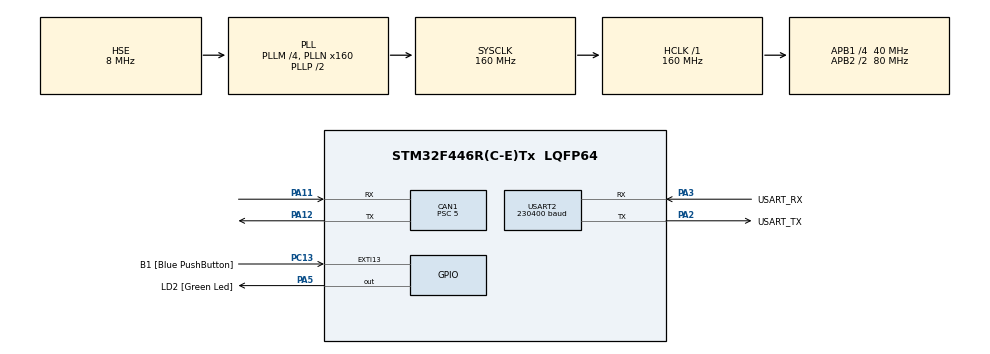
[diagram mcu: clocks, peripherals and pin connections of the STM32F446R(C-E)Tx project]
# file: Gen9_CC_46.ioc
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CAN1.BS1=CAN_BS1_13TQ
CAN1.BS2=CAN_BS2_2TQ
CAN1.CalculateTimeBit=2000
CAN1.CalculateTimeQuantum=125.0
CAN1.Prescaler=5
Dma.Request0=USART2_RX
Dma.Request1=USART2_TX
Dma.USART2_RX.0.Direction=DMA_PERIPH_TO_MEMORY
Dma.USART2_RX.0.FIFOMode=DMA_FIFOMODE_DISABLE
Dma.USART2_RX.0.Instance=DMA1_Stream5
Dma.USART2_RX.0.MemDataAlignment=DMA_MDATAALIGN_BYTE
Dma.USART2_RX.0.MemInc=DMA_MINC_ENABLE
Dma.USART2_RX.0.Mode=DMA_CIRCULAR
Dma.USART2_RX.0.PeriphDataAlignment=DMA_PDATAALIGN_BYTE
Dma.USART2_RX.0.PeriphInc=DMA_PINC_DISABLE
Dma.USART2_RX.0.Priority=DMA_PRIORITY_MEDIUM
Dma.USART2_TX.1.Direction=DMA_MEMORY_TO_PERIPH
Dma.USART2_TX.1.FIFOMode=DMA_FIFOMODE_DISABLE
Dma.USART2_TX.1.Instance=DMA1_Stream6
Dma.USART2_TX.1.MemDataAlignment=DMA_MDATAALIGN_BYTE
Dma.USART2_TX.1.MemInc=DMA_MINC_ENABLE
Dma.USART2_TX.1.Mode=DMA_NORMAL
Dma.USART2_TX.1.PeriphDataAlignment=DMA_PDATAALIGN_BYTE
Dma.USART2_TX.1.PeriphInc=DMA_PINC_DISABLE
Dma.USART2_TX.1.Priority=DMA_PRIORITY_LOW
FREERTOS.INCLUDE_eTaskGetState=1
FREERTOS.INCLUDE_vTaskDelayUntil=1
FREERTOS.INCLUDE_xQueueGetMutexHolder=1
FREERTOS.INCLUDE_xSemaphoreGetMutexHolder=1
FREERTOS.INCLUDE_xTaskGetCurrentTaskHandle=1
FREERTOS.Mutexes01=controlVarsMtx,Dynamic,NULL
FREERTOS.Queues01=mainCanTxQ,32,Can_frame_t,NULL,Dynamic,NULL,NULL;mainCanRxQ,32,Can_frame_t,NULL,Dynamic,NULL,NULL;BadNodesQ,32,uint8_t,NULL,Dynamic,NULL,NULL;motCanTxQ,16,Can_frame_t,NULL,Dynamic,NULL,NULL;motCanRxQ,16,Can_frame_t,NULL,Dynamic,NULL,NULL
FREERTOS.Tasks01=Kick_Dog,3,256,doKickDog,Default,NULL,Dynamic,NULL,NULL;Can_Processor,0,512,doProcessCan,Default,NULL,Dynamic,NULL,NULL;RT_Handler,2,512,doRealTime,Default,NULL,Dynamic,NULL,NULL;Node_Manager,-1,512,doNodeManager,Default,NULL,Dynamic,NULL,NULL
FREERTOS.configCHECK_FOR_STACK_OVERFLOW=2
FREERTOS.configENABLE_BACKWARD_COMPATIBILITY=0
FREERTOS.configMINIMAL_STACK_SIZE=256
FREERTOS.configTIMER_TASK_PRIORITY=6
FREERTOS.configTOTAL_HEAP_SIZE=32768
FREERTOS.configUSE_MALLOC_FAILED_HOOK=1
FREERTOS.configUSE_PORT_OPTIMISED_TASK_SELECTION=1
FREERTOS.configUSE_TIMERS=1
FREERTOS.configUSE_TRACE_FACILITY=0
Mcu.Family=STM32F4
Mcu.Name=STM32F446R(C-E)Tx
Mcu.Package=LQFP64
NVIC.CAN1_RX0_IRQn=true\:5\:0\:false\:false\:true\:true
NVIC.CAN1_RX1_IRQn=true\:5\:0\:false\:false\:true\:true
NVIC.CAN1_SCE_IRQn=true\:5\:0\:false\:false\:true\:true
NVIC.CAN1_TX_IRQn=true\:5\:0\:false\:false\:true\:true
NVIC.DMA1_Stream5_IRQn=true\:5\:0\:false\:false\:true\:true
NVIC.DMA1_Stream6_IRQn=true\:5\:0\:false\:false\:true\:true
NVIC.EXTI15_10_IRQn=true\:5\:0\:false\:false\:true\:true
NVIC.PriorityGroup=NVIC_PRIORITYGROUP_4
NVIC.TIM6_DAC_IRQn=true\:0\:0\:false\:false\:true\:false
NVIC.TimeBase=TIM6_DAC_IRQn
NVIC.TimeBaseIP=TIM6
NVIC.USART2_IRQn=true\:5\:0\:false\:false\:true\:true
PA11.Mode=Master
PA11.Signal=CAN1_RX
PA12.Mode=Master
PA12.Signal=CAN1_TX
PA13.GPIO_Label=TMS
PA13.Mode=Serial_Wire
PA13.Signal=SYS_JTMS-SWDIO
PA14.Mode=Serial_Wire
PA14.Signal=SYS_JTCK-SWCLK
PA2.GPIO_Label=USART_TX
PA2.Mode=Asynchronous
PA2.Signal=USART2_TX
PA3.GPIO_Label=USART_RX
PA3.Mode=Asynchronous
PA3.Signal=USART2_RX
PA5.GPIO_Label=LD2 [Green Led]
PA5.Signal=GPIO_Output
PB3.GPIO_Label=SWO
PB3.Signal=SYS_JTDO-SWO
PC13.GPIO_Label=B1 [Blue PushButton]
PC13.GPIO_ModeDefaultEXTI=GPIO_MODE_IT_FALLING
PC13.Signal=GPXTI13
PC14-OSC32_IN.Signal=RCC_OSC32_IN
PC15-OSC32_OUT.Signal=RCC_OSC32_OUT
PH0-OSC_IN.Mode=HSE-External-Oscillator
PH0-OSC_IN.Signal=RCC_OSC_IN
PH1-OSC_OUT.Mode=HSE-External-Oscillator
PH1-OSC_OUT.Signal=RCC_OSC_OUT
ProjectManager.HeapSize=0x200
ProjectManager.StackSize=0x400
ProjectManager.TargetToolchain=EWARM
RCC.AHBFreq_Value=160000000
RCC.APB1CLKDivider=RCC_HCLK_DIV4
RCC.APB1Freq_Value=40000000
RCC.APB1TimFreq_Value=80000000
RCC.APB2CLKDivider=RCC_HCLK_DIV2
RCC.APB2Freq_Value=80000000
RCC.APB2TimFreq_Value=160000000
RCC.CortexFreq_Value=160000000
RCC.FLatency-AdvancedSettings=FLASH_LATENCY_5
RCC.HCLKFreq_Value=160000000
RCC.HSE_VALUE=8000000
RCC.HSI_VALUE=16000000
RCC.LSE_VALUE=32768
RCC.PLLM=4
RCC.PLLN=160
RCC.PLLQ=7
RCC.PLLSourceVirtual=RCC_PLLSOURCE_HSE
RCC.RCC_PERIPHCLK_CK48Var=RCC_PERIPHCLK_CLK48
RCC.RCC_PERIPHCLK_SDIOVar=RCC_PERIPHCLK_SDIO
RCC.RCC_PERIPHCLK_SPDIFVar=RCC_PERIPHCLK_SPDIFRX
RCC.RCC_RTC_Clock_SourceVirtual=RCC_RTCCLKSOURCE_LSI
RCC.SYSCLKFreq_VALUE=160000000
RCC.SYSCLKSource=RCC_SYSCLKSOURCE_PLLCLK
RCC.USBFreq_Value=45714285.71428572
RCC.VCOOutputFreq_Value=320000000
USART2.BaudRate=230400
USART2.VirtualMode=VM_ASYNC
VP_FREERTOS_VS_ENABLE.Mode=Enabled
VP_SYS_VS_tim6.Mode=TIM6
VP_WWDG_VS_WWDG.Mode=WWDG_Activate
WWDG.Counter=127
WWDG.Prescaler=WWDG_PRESCALER_8
WWDG.Window=127
board=NUCLEO-F446RE

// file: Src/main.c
/**
  ******************************************************************************
  * File Name          : main.c
  * Description        : Main program body
  ******************************************************************************
  * This notice applies to any and all portions of this file
  * that are not between comment pairs USER CODE BEGIN and
  * USER CODE END. Other portions of this file, whether
  * inserted by the user or by software development tools
  * are owned by their respective copyright owners.
  *
  * Copyright (c) 2017 STMicroelectronics International N.V.
  * All rights reserved.
  *
  * Redistribution and use in source and binary forms, with or without
  * modification, are permitted, provided that the following conditions are met:
  *
  * 1. Redistribution of source code must retain the above copyright notice,
  *    this list of conditions and the following disclaimer.
  * 2. Redistributions in binary form must reproduce the above copyright notice,
  *    this list of conditions and the following disclaimer in the documentation
  *    and/or other materials provided with the distribution.
  * 3. Neither the name of STMicroelectronics nor the names of other
  *    contributors to this software may be used to endorse or promote products
  *    derived from this software without specific written permission.
  * 4. This software, including modifications and/or derivative works of this
  *    software, must execute solely and exclusively on microcontroller or
  *    microprocessor devices manufactured by or for STMicroelectronics.
  * 5. Redistribution and use of this software other than as permitted under
  *    this license is void and will automatically terminate your rights under
  *    this license.
  *
  * THIS SOFTWARE IS PROVIDED BY STMICROELECTRONICS AND CONTRIBUTORS "AS IS"
  * AND ANY EXPRESS, IMPLIED OR STATUTORY WARRANTIES, INCLUDING, BUT NOT
  * LIMITED TO, THE IMPLIED WARRANTIES OF MERCHANTABILITY, FITNESS FOR A
  * PARTICULAR PURPOSE AND NON-INFRINGEMENT OF THIRD PARTY INTELLECTUAL PROPERTY
  * RIGHTS ARE DISCLAIMED TO THE FULLEST EXTENT PERMITTED BY LAW. IN NO EVENT
  * SHALL STMICROELECTRONICS OR CONTRIBUTORS BE LIABLE FOR ANY DIRECT, INDIRECT,
  * INCIDENTAL, SPECIAL, EXEMPLARY, OR CONSEQUENTIAL DAMAGES (INCLUDING, BUT NOT
  * LIMITED TO, PROCUREMENT OF SUBSTITUTE GOODS OR SERVICES; LOSS OF USE, DATA,
  * OR PROFITS; OR BUSINESS INTERRUPTION) HOWEVER CAUSED AND ON ANY THEORY OF
  * LIABILITY, WHETHER IN CONTRACT, STRICT LIABILITY, OR TORT (INCLUDING
  * NEGLIGENCE OR OTHERWISE) ARISING IN ANY WAY OUT OF THE USE OF THIS SOFTWARE,
  * EVEN IF ADVISED OF THE POSSIBILITY OF SUCH DAMAGE.
  *
  ******************************************************************************
  */
#include "main.h"
#include "stm32f4xx_hal.h"
#include "cmsis_os.h"

/* USER CODE BEGIN Includes */
#include "can.h"
#include "serial.h"
#include "nodeMiscHelpers.h"
#include "nodeConf.h"
#include "../../CAN_ID.h"

// RTOS Task functions + helpers
#include "Can_Processor.h"
#ifndef DISABLE_RT
//#include "RT_Handler.h"
#endif
#include "Node_Manager.h"

/* USER CODE END Includes */

CAN_HandleTypeDef hcan1;

UART_HandleTypeDef huart2;
DMA_HandleTypeDef hdma_usart2_rx;
DMA_HandleTypeDef hdma_usart2_tx;

WWDG_HandleTypeDef hwwdg;

osThreadId Kick_DogHandle;
osThreadId Can_ProcessorHandle;
osThreadId RT_HandlerHandle;
osThreadId Node_ManagerHandle;
osMessageQId mainCanTxQHandle;
osMessageQId mainCanRxQHandle;
osMessageQId BadNodesQHandle;
osMessageQId motCanTxQHandle;
osMessageQId motCanRxQHandle;
osMutexId controlVarsMtxHandle;

/* USER CODE BEGIN PV */
/* Private variables ---------------------------------------------------------*/
uint32_t selfStatusWord;
#ifndef NODE_CONFIGURED
#error "NODE NOT CONFIGURED. GO CONFIGURE IT IN NODECONF.H!"
#endif

//osMutexId nodeEntryMtxHandle[16];		// Mutex for every node table entry
QueueHandle_t * nodeEntryMtxHandle = (QueueHandle_t[MAX_NODE_NUM]){0};
osTimerId * nodeTmrHandle = (osTimerId[MAX_NODE_NUM]){0};			// Timer for each node's timeout timer
nodeEntry * nodeTable = (nodeEntry[MAX_NODE_NUM]){0};
controlVars userInput;
/* USER CODE END PV */

void SystemClock_Config(void);
static void MX_GPIO_Init(void);
static void MX_DMA_Init(void);
static void MX_CAN1_Init(void);
static void MX_USART2_UART_Init(void);
static void MX_WWDG_Init(void);
void doKickDog(void const * argument);
void doProcessCan(void const * argument);
void doRealTime(void const * argument);
void doNodeManager(void const * argument);

/* USER CODE BEGIN PFP */
/* Private function prototypes -----------------------------------------------*/

/* USER CODE END PFP */

/* USER CODE BEGIN 0 */
// Handler for node HB timeout
void TmrHBTimeout(void * argument){
	// TODO: Test if using point in the line below breaks this function
 	uint8_t timerID = (uint8_t)pvTimerGetTimerID((TimerHandle_t)argument);
	nodeTable[timerID].nodeConnectionState = UNRELIABLE;
	if((timerID) != mc_nodeID){
		xQueueSend(BadNodesQHandle, &timerID, portMAX_DELAY);
	}
}
/* USER CODE END 0 */

int main(void)
{

  /* USER CODE BEGIN 1 */
	setState(ACTIVE);
  /* USER CODE END 1 */

  /* MCU Configuration----------------------------------------------------------*/

  /* Reset of all peripherals, Initializes the Flash interface and the Systick. */
  HAL_Init();

  /* Configure the system clock */
  SystemClock_Config();

  /* Initialize all configured peripherals */
  MX_GPIO_Init();
  MX_DMA_Init();
  MX_CAN1_Init();
  MX_USART2_UART_Init();
  MX_WWDG_Init();

  /* USER CODE BEGIN 2 */
#ifdef DEBUG
	static uint8_t hbmsg[] = "Command Center booting... \n";
	Serial2_writeBytes(hbmsg, sizeof(hbmsg)-1);
#endif
  setupNodeTable();
  nodeTable[cc_nodeID].nodeStatusWord = ACTIVE;		// Set initial status to ACTIVE

  ////*IF YOU GET HCAN1 NOT DEFINED ERROR, CHECK NODECONF.H FIRST!*////
  bxCan_begin(&hcan1, &mainCanRxQHandle, &mainCanTxQHandle);
  // Set up CAN filter banks
  //XXX forgot the P2P commands?
  bxCan_addMaskedFilterStd(swOffset,0xFF0,0); // Filter: Status word group (ignore nodeID)
  bxCan_addMaskedFilterStd(fwOffset,0xFF0,0); // Filter: Firmware version group (ignore nodeID)
  bxCan_addMaskedFilterStd(p2pOffset,0xFF0,0); // Filter: p2p command group (ignore nodeID)

  bxCan_addMaskedFilterExt(mitsubaFr0,0xFFFFFF0F,0);	// Mitsuba Frame 0
  bxCan_addMaskedFilterExt(mitsubaFr1,0xFFFFFF0F,0);	// Mitsuba Frame 1
  bxCan_addMaskedFilterExt(mitsubaFr2,0xFFFFFF0F,0);	// Mitsuba Frame 2

  /* USER CODE END 2 */

  /* Create the mutex(es) */
  /* definition and creation of controlVarsMtx */
  osMutexDef(controlVarsMtx);
  controlVarsMtxHandle = osMutexCreate(osMutex(controlVarsMtx));

  /* USER CODE BEGIN RTOS_MUTEX */
  /* add mutexes, ... */
  // Node table entry mutex
  // Every entry has a mutex that is associated with the nodeID
  for(uint8_t i =0; i < MAX_NODE_NUM; i++){
	  osMutexDef(i);
	  nodeEntryMtxHandle[i] = (QueueHandle_t)osMutexCreate(osMutex(i));
  }
  /* USER CODE END RTOS_MUTEX */

  /* USER CODE BEGIN RTOS_TIMERS */
  /* start timers, add new ones, ... */
  // Node heartbeat timeout timers
//    for(uint8_t TmrID = 0; TmrID < MAX_NODE_NUM; TmrID++){
//  	  osTimerDef(TmrID, TmrHBTimeout);
//  	  // TODO: Consider passing the nodeTmrHandle+Offset or NULL
//  	  nodeTmrHandle[TmrID] = osTimerCreate(osTimer(TmrID), osTimerOnce, (void*)TmrID);	// TmrID here is stored directly as a variable
//  	  //DISCUSS changePeriod starts the damn timers...
//  	  xTimerChangePeriod(nodeTmrHandle[TmrID], Node_HB_Interval, portMAX_DELAY);
//  	  xTimerStop(nodeTmrHandle[TmrID], portMAX_DELAY);
//  	  //TODO investigate the timer crashes
//  	  // One-shot timer since it should be refreshed by the Can Processor upon node HB reception
//    }     //fucktarded the macro oops
    for(uint8_t TmrID = 0; TmrID < MAX_NODE_NUM; TmrID++){
  	  nodeTmrHandle[TmrID] = xTimerCreate(NULL,Node_HB_Interval,pdFALSE,(void*)TmrID,TmrHBTimeout);
    }
  /* USER CODE END RTOS_TIMERS */

  /* Create the thread(s) */
  /* definition and creation of Kick_Dog */
  osThreadDef(Kick_Dog, doKickDog, osPriorityRealtime, 0, 256);
  Kick_DogHandle = osThreadCreate(osThread(Kick_Dog), NULL);

  /* definition and creation of Can_Processor */
  osThreadDef(Can_Processor, doProcessCan, osPriorityNormal, 0, 512);
  Can_ProcessorHandle = osThreadCreate(osThread(Can_Processor), NULL);

  /* definition and creation of RT_Handler */
  osThreadDef(RT_Handler, doRealTime, osPriorityHigh, 0, 512);
  RT_HandlerHandle = osThreadCreate(osThread(RT_Handler), NULL);

  /* definition and creation of Node_Manager */
  osThreadDef(Node_Manager, doNodeManager, osPriorityBelowNormal, 0, 512);
  Node_ManagerHandle = osThreadCreate(osThread(Node_Manager), NULL);

  /* Create the queue(s) */
  /* definition and creation of mainCanTxQ */
  osMessageQDef(mainCanTxQ, 32, Can_frame_t);
  mainCanTxQHandle = osMessageCreate(osMessageQ(mainCanTxQ), NULL);

  /* definition and creation of mainCanRxQ */
  osMessageQDef(mainCanRxQ, 32, Can_frame_t);
  mainCanRxQHandle = osMessageCreate(osMessageQ(mainCanRxQ), NULL);

  /* definition and creation of BadNodesQ */
  osMessageQDef(BadNodesQ, 32, uint8_t);
  BadNodesQHandle = osMessageCreate(osMessageQ(BadNodesQ), NULL);

  /* definition and creation of motCanTxQ */
  osMessageQDef(motCanTxQ, 16, Can_frame_t);
  motCanTxQHandle = osMessageCreate(osMessageQ(motCanTxQ), NULL);

  /* definition and creation of motCanRxQ */
  osMessageQDef(motCanRxQ, 16, Can_frame_t);
  motCanRxQHandle = osMessageCreate(osMessageQ(motCanRxQ), NULL);

  /* Start scheduler */
  osKernelStart();

  /* We should never get here as control is now taken by the scheduler */

  /* Infinite loop */
  while (1)
  {

  }

}

/** System Clock Configuration
*/
void SystemClock_Config(void)
{

  RCC_OscInitTypeDef RCC_OscInitStruct;
  RCC_ClkInitTypeDef RCC_ClkInitStruct;

    /**Configure the main internal regulator output voltage
    */
  __HAL_RCC_PWR_CLK_ENABLE();

  __HAL_PWR_VOLTAGESCALING_CONFIG(PWR_REGULATOR_VOLTAGE_SCALE1);

    /**Initializes the CPU, AHB and APB busses clocks
    */
  RCC_OscInitStruct.OscillatorType = RCC_OSCILLATORTYPE_HSE;
  RCC_OscInitStruct.HSEState = RCC_HSE_ON;
  RCC_OscInitStruct.PLL.PLLState = RCC_PLL_ON;
  RCC_OscInitStruct.PLL.PLLSource = RCC_PLLSOURCE_HSE;
  RCC_OscInitStruct.PLL.PLLM = 4;
  RCC_OscInitStruct.PLL.PLLN = 160;
  RCC_OscInitStruct.PLL.PLLP = RCC_PLLP_DIV2;
  RCC_OscInitStruct.PLL.PLLQ = 7;
  RCC_OscInitStruct.PLL.PLLR = 2;
  if (HAL_RCC_OscConfig(&RCC_OscInitStruct) != HAL_OK)
  {
    _Error_Handler(__FILE__, __LINE__);
  }

    /**Initializes the CPU, AHB and APB busses clocks
    */
  RCC_ClkInitStruct.ClockType = RCC_CLOCKTYPE_HCLK|RCC_CLOCKTYPE_SYSCLK
                              |RCC_CLOCKTYPE_PCLK1|RCC_CLOCKTYPE_PCLK2;
  RCC_ClkInitStruct.SYSCLKSource = RCC_SYSCLKSOURCE_PLLCLK;
  RCC_ClkInitStruct.AHBCLKDivider = RCC_SYSCLK_DIV1;
  RCC_ClkInitStruct.APB1CLKDivider = RCC_HCLK_DIV4;
  RCC_ClkInitStruct.APB2CLKDivider = RCC_HCLK_DIV2;

  if (HAL_RCC_ClockConfig(&RCC_ClkInitStruct, FLASH_LATENCY_5) != HAL_OK)
  {
    _Error_Handler(__FILE__, __LINE__);
  }

    /**Configure the Systick interrupt time
    */
  HAL_SYSTICK_Config(HAL_RCC_GetHCLKFreq()/1000);

    /**Configure the Systick
    */
  HAL_SYSTICK_CLKSourceConfig(SYSTICK_CLKSOURCE_HCLK);

  /* SysTick_IRQn interrupt configuration */
  HAL_NVIC_SetPriority(SysTick_IRQn, 15, 0);
}

/* CAN1 init function */
static void MX_CAN1_Init(void)
{

  hcan1.Instance = CAN1;
  hcan1.Init.Prescaler = 5;
  hcan1.Init.Mode = CAN_MODE_NORMAL;
  hcan1.Init.SJW = CAN_SJW_1TQ;
  hcan1.Init.BS1 = CAN_BS1_13TQ;
  hcan1.Init.BS2 = CAN_BS2_2TQ;
  hcan1.Init.TTCM = DISABLE;
  hcan1.Init.ABOM = DISABLE;
  hcan1.Init.AWUM = DISABLE;
  hcan1.Init.NART = DISABLE;
  hcan1.Init.RFLM = DISABLE;
  hcan1.Init.TXFP = DISABLE;
  if (HAL_CAN_Init(&hcan1) != HAL_OK)
  {
    _Error_Handler(__FILE__, __LINE__);
  }

}

/* USART2 init function */
static void MX_USART2_UART_Init(void)
{

  huart2.Instance = USART2;
  huart2.Init.BaudRate = 230400;
  huart2.Init.WordLength = UART_WORDLENGTH_8B;
  huart2.Init.StopBits = UART_STOPBITS_1;
  huart2.Init.Parity = UART_PARITY_NONE;
  huart2.Init.Mode = UART_MODE_TX_RX;
  huart2.Init.HwFlowCtl = UART_HWCONTROL_NONE;
  huart2.Init.OverSampling = UART_OVERSAMPLING_16;
  if (HAL_UART_Init(&huart2) != HAL_OK)
  {
    _Error_Handler(__FILE__, __LINE__);
  }

}

/* WWDG init function */
static void MX_WWDG_Init(void)
{

  hwwdg.Instance = WWDG;
  hwwdg.Init.Prescaler = WWDG_PRESCALER_8;
  hwwdg.Init.Window = 127;
  hwwdg.Init.Counter = 127;
  hwwdg.Init.EWIMode = WWDG_EWI_DISABLE;
  if (HAL_WWDG_Init(&hwwdg) != HAL_OK)
  {
    _Error_Handler(__FILE__, __LINE__);
  }

}

static void MX_DMA_Init(void)
{
  /* DMA controller clock enable */
  __HAL_RCC_DMA1_CLK_ENABLE();

  /* DMA interrupt init */
  /* DMA1_Stream5_IRQn interrupt configuration */
  HAL_NVIC_SetPriority(DMA1_Stream5_IRQn, 5, 0);
  HAL_NVIC_EnableIRQ(DMA1_Stream5_IRQn);
  /* DMA1_Stream6_IRQn interrupt configuration */
  HAL_NVIC_SetPriority(DMA1_Stream6_IRQn, 5, 0);
  HAL_NVIC_EnableIRQ(DMA1_Stream6_IRQn);

}

/** Configure pins as
        * Analog
        * Input
        * Output
        * EVENT_OUT
        * EXTI
        * Free pins are configured automatically as Analog (this feature is enabled through
        * the Code Generation settings)
*/
static void MX_GPIO_Init(void)
{

  GPIO_InitTypeDef GPIO_InitStruct;

  /* GPIO Ports Clock Enable */
  __HAL_RCC_GPIOC_CLK_ENABLE();
  __HAL_RCC_GPIOH_CLK_ENABLE();
  __HAL_RCC_GPIOA_CLK_ENABLE();
  __HAL_RCC_GPIOB_CLK_ENABLE();
  __HAL_RCC_GPIOD_CLK_ENABLE();

  /*Configure GPIO pin Output Level */
  HAL_GPIO_WritePin(LD2_GPIO_Port, LD2_Pin, GPIO_PIN_RESET);

  /*Configure GPIO pin : B1_Pin */
  GPIO_InitStruct.Pin = B1_Pin;
  GPIO_InitStruct.Mode = GPIO_MODE_IT_FALLING;
  GPIO_InitStruct.Pull = GPIO_NOPULL;
  HAL_GPIO_Init(B1_GPIO_Port, &GPIO_InitStruct);

  /*Configure GPIO pins : PC0 PC1 PC2 PC3
                           PC4 PC5 PC6 PC7
                           PC8 PC9 PC10 PC11
                           PC12 */
  GPIO_InitStruct.Pin = GPIO_PIN_0|GPIO_PIN_1|GPIO_PIN_2|GPIO_PIN_3
                          |GPIO_PIN_4|GPIO_PIN_5|GPIO_PIN_6|GPIO_PIN_7
                          |GPIO_PIN_8|GPIO_PIN_9|GPIO_PIN_10|GPIO_PIN_11
                          |GPIO_PIN_12;
  GPIO_InitStruct.Mode = GPIO_MODE_ANALOG;
  GPIO_InitStruct.Pull = GPIO_NOPULL;
  HAL_GPIO_Init(GPIOC, &GPIO_InitStruct);

  /*Configure GPIO pins : PA0 PA1 PA4 PA6
                           PA7 PA8 PA9 PA10
                           PA15 */
  GPIO_InitStruct.Pin = GPIO_PIN_0|GPIO_PIN_1|GPIO_PIN_4|GPIO_PIN_6
                          |GPIO_PIN_7|GPIO_PIN_8|GPIO_PIN_9|GPIO_PIN_10
                          |GPIO_PIN_15;
  GPIO_InitStruct.Mode = GPIO_MODE_ANALOG;
  GPIO_InitStruct.Pull = GPIO_NOPULL;
  HAL_GPIO_Init(GPIOA, &GPIO_InitStruct);

  /*Configure GPIO pin : LD2_Pin */
  GPIO_InitStruct.Pin = LD2_Pin;
  GPIO_InitStruct.Mode = GPIO_MODE_OUTPUT_PP;
  GPIO_InitStruct.Pull = GPIO_NOPULL;
  GPIO_InitStruct.Speed = GPIO_SPEED_FREQ_LOW;
  HAL_GPIO_Init(LD2_GPIO_Port, &GPIO_InitStruct);

  /*Configure GPIO pins : PB0 PB1 PB2 PB10
                           PB12 PB13 PB14 PB15
                           PB4 PB5 PB6 PB7
                           PB8 PB9 */
  GPIO_InitStruct.Pin = GPIO_PIN_0|GPIO_PIN_1|GPIO_PIN_2|GPIO_PIN_10
                          |GPIO_PIN_12|GPIO_PIN_13|GPIO_PIN_14|GPIO_PIN_15
                          |GPIO_PIN_4|GPIO_PIN_5|GPIO_PIN_6|GPIO_PIN_7
                          |GPIO_PIN_8|GPIO_PIN_9;
  GPIO_InitStruct.Mode = GPIO_MODE_ANALOG;
  GPIO_InitStruct.Pull = GPIO_NOPULL;
  HAL_GPIO_Init(GPIOB, &GPIO_InitStruct);

  /*Configure GPIO pin : PD2 */
  GPIO_InitStruct.Pin = GPIO_PIN_2;
  GPIO_InitStruct.Mode = GPIO_MODE_ANALOG;
  GPIO_InitStruct.Pull = GPIO_NOPULL;
  HAL_GPIO_Init(GPIOD, &GPIO_InitStruct);

  /* EXTI interrupt init*/
  HAL_NVIC_SetPriority(EXTI15_10_IRQn, 5, 0);
  HAL_NVIC_EnableIRQ(EXTI15_10_IRQn);

}

/* doKickDog function */
void doKickDog(void const * argument)
{

  /* USER CODE BEGIN 5 */
  /* Infinite loop */
  uint32_t PreviousWakeTime = osKernelSysTick();
  for(;;)
  {
  taskENTER_CRITICAL();
  HAL_WWDG_Refresh(&hwwdg);
  taskEXIT_CRITICAL();
  osDelayUntil(&PreviousWakeTime, WD_Interval);
  }
  /* USER CODE END 5 */
}

/* doProcessCan function */
void doProcessCan(void const * argument)
{
  /* USER CODE BEGIN doProcessCan */
  /* Infinite loop */
	// Wrapper function for the CAN Processing Logic
	// Handles all CAN Protocol Suite based responses and tasks
	Can_Processor();
  /* USER CODE END doProcessCan */
}

/* doRealTime function */
void doRealTime(void const * argument)
{
  /* USER CODE BEGIN doRealTime */
  for(;;){
	  osDelay(10000);
  }
  /* USER CODE END doRealTime */
}

/* doNodeManager function */
void doNodeManager(void const * argument)
{
  /* USER CODE BEGIN doNodeManager */
  /* Infinite loop */
  for(;;)
  {
	// Wrapper for the Node_Manager task
    Node_Manager();
  }
  /* USER CODE END doNodeManager */
}

void HAL_TIM_PeriodElapsedCallback(TIM_HandleTypeDef *htim)
{
  if (htim->Instance == TIM6) {
    HAL_IncTick();
  }
}

void _Error_Handler(char * file, int line)
{
  while(1)
  {
  }
}

/************************ (C) COPYRIGHT STMicroelectronics *****END OF FILE****/

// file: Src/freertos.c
/**
  ******************************************************************************
  * File Name          : freertos.c
  * Description        : Code for freertos applications
  ******************************************************************************
  * This notice applies to any and all portions of this file
  * that are not between comment pairs USER CODE BEGIN and
  * USER CODE END. Other portions of this file, whether
  * inserted by the user or by software development tools
  * are owned by their respective copyright owners.
  *
  * Copyright (c) 2017 STMicroelectronics International N.V.
  * All rights reserved.
  *
  * Redistribution and use in source and binary forms, with or without
  * modification, are permitted, provided that the following conditions are met:
  *
  * 1. Redistribution of source code must retain the above copyright notice,
  *    this list of conditions and the following disclaimer.
  * 2. Redistributions in binary form must reproduce the above copyright notice,
  *    this list of conditions and the following disclaimer in the documentation
  *    and/or other materials provided with the distribution.
  * 3. Neither the name of STMicroelectronics nor the names of other
  *    contributors to this software may be used to endorse or promote products
  *    derived from this software without specific written permission.
  * 4. This software, including modifications and/or derivative works of this
  *    software, must execute solely and exclusively on microcontroller or
  *    microprocessor devices manufactured by or for STMicroelectronics.
  * 5. Redistribution and use of this software other than as permitted under
  *    this license is void and will automatically terminate your rights under
  *    this license.
  *
  * THIS SOFTWARE IS PROVIDED BY STMICROELECTRONICS AND CONTRIBUTORS "AS IS"
  * AND ANY EXPRESS, IMPLIED OR STATUTORY WARRANTIES, INCLUDING, BUT NOT
  * LIMITED TO, THE IMPLIED WARRANTIES OF MERCHANTABILITY, FITNESS FOR A
  * PARTICULAR PURPOSE AND NON-INFRINGEMENT OF THIRD PARTY INTELLECTUAL PROPERTY
  * RIGHTS ARE DISCLAIMED TO THE FULLEST EXTENT PERMITTED BY LAW. IN NO EVENT
  * SHALL STMICROELECTRONICS OR CONTRIBUTORS BE LIABLE FOR ANY DIRECT, INDIRECT,
  * INCIDENTAL, SPECIAL, EXEMPLARY, OR CONSEQUENTIAL DAMAGES (INCLUDING, BUT NOT
  * LIMITED TO, PROCUREMENT OF SUBSTITUTE GOODS OR SERVICES; LOSS OF USE, DATA,
  * OR PROFITS; OR BUSINESS INTERRUPTION) HOWEVER CAUSED AND ON ANY THEORY OF
  * LIABILITY, WHETHER IN CONTRACT, STRICT LIABILITY, OR TORT (INCLUDING
  * NEGLIGENCE OR OTHERWISE) ARISING IN ANY WAY OUT OF THE USE OF THIS SOFTWARE,
  * EVEN IF ADVISED OF THE POSSIBILITY OF SUCH DAMAGE.
  *
  ******************************************************************************
  */

#include "FreeRTOS.h"
#include "task.h"

/* Hook prototypes */
void vApplicationStackOverflowHook(TaskHandle_t xTask, signed char *pcTaskName);
void vApplicationMallocFailedHook(void);

/* USER CODE BEGIN 4 */
__weak void vApplicationStackOverflowHook(TaskHandle_t xTask, signed char *pcTaskName)
{
   /* Run time stack overflow checking is performed if
   configCHECK_FOR_STACK_OVERFLOW is defined to 1 or 2. This hook function is
   called if a stack overflow is detected. */
}
/* USER CODE END 4 */

/* USER CODE BEGIN 5 */
__weak void vApplicationMallocFailedHook(void)
{
   /* vApplicationMallocFailedHook() will only be called if
   configUSE_MALLOC_FAILED_HOOK is set to 1 in FreeRTOSConfig.h. It is a hook
   function that will get called if a call to pvPortMalloc() fails.
   pvPortMalloc() is called internally by the kernel whenever a task, queue,
   timer or semaphore is created. It is also called by various parts of the
   demo application. If heap_1.c or heap_2.c are used, then the size of the
   heap available to pvPortMalloc() is defined by configTOTAL_HEAP_SIZE in
   FreeRTOSConfig.h, and the xPortGetFreeHeapSize() API function can be used
   to query the size of free heap space that remains (although it does not
   provide information on how the remaining heap might be fragmented). */
}
/* USER CODE END 5 */

/************************ (C) COPYRIGHT STMicroelectronics *****END OF FILE****/
